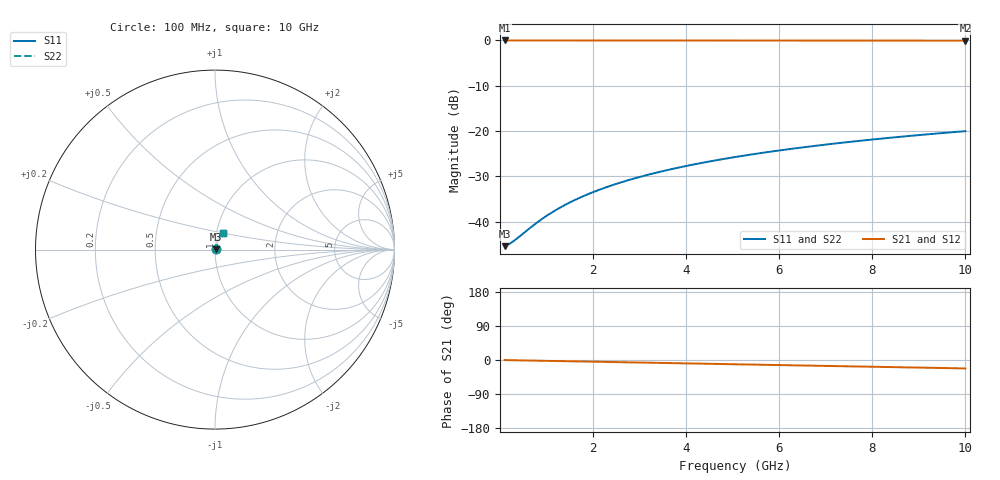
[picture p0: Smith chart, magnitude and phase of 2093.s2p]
# Hz S RI R 50.00
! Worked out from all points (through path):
!   100 points, 100 MHz to 10 GHz, reference 50 ohm
!   highest |S21| = -0.05 dB at 100 MHz (marker M1); lowest = -0.1 dB at 10 GHz (marker M2)
!   group delay of S21, straight-line fit = 6.18 ps
!   lowest |S11| = -45.4 dB at 100 MHz (marker M3), VSWR 1.01, Z = 50.5 + j0.101 ohm
!   |S11| at or under -10 dB: start of sweep to end of sweep
!   |S22| runs from -45.4 to -20.0 dB; largest |S21 - S12| = 0
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1e8  0.00527 0.001  0.9947 -0.00387  0.9947 -0.00387  0.00527 0.001
2e8  0.00532 0.002  0.9947 -0.00774  0.9947 -0.00774  0.00532 0.002
3e8  0.00536 0.003  0.9946 -0.0116  0.9946 -0.0116  0.00536 0.003
8e8  0.00565 0.008  0.9941 -0.031  0.9941 -0.031  0.00565 0.008
9e8  0.00573 0.009  0.9939 -0.0348  0.9939 -0.0348  0.00573 0.009
1.1e9  0.00591 0.011  0.9936 -0.0426  0.9936 -0.0426  0.00591 0.011
1.4e9  0.00623 0.014  0.9929 -0.0542  0.9929 -0.0542  0.00623 0.014
1.6e9  0.00647 0.016  0.9924 -0.0619  0.9924 -0.0619  0.00647 0.016
1.8e9  0.00675 0.018  0.9919 -0.0696  0.9919 -0.0696  0.00675 0.018
2.1e9  0.00723 0.0209  0.9909 -0.0812  0.9909 -0.0812  0.00723 0.0209
2.5e9  0.00797 0.0248  0.9894 -0.0966  0.9894 -0.0966  0.00797 0.0248
2.9e9  0.00883 0.0288  0.9876 -0.1119  0.9876 -0.1119  0.00883 0.0288
3.4e9  0.0101 0.0336  0.9851 -0.1311  0.9851 -0.1311  0.0101 0.0336
3.8e9  0.0112 0.0374  0.9827 -0.1464  0.9827 -0.1464  0.0112 0.0374
4.2e9  0.0124 0.0412  0.9801 -0.1616  0.9801 -0.1616  0.0124 0.0412
4.6e9  0.0138 0.045  0.9773 -0.1768  0.9773 -0.1768  0.0138 0.045
5.1e9  0.0157 0.0496  0.9734 -0.1957  0.9734 -0.1957  0.0157 0.0496
5.9e9  0.019 0.0568  0.9664 -0.2258  0.9664 -0.2258  0.019 0.0568
6.7e9  0.0228 0.0638  0.9584 -0.2555  0.9584 -0.2555  0.0228 0.0638
7.5e9  0.0271 0.0706  0.9494 -0.285  0.9494 -0.285  0.0271 0.0706
8.4e9  0.0323 0.0778  0.9382 -0.3177  0.9382 -0.3177  0.0323 0.0778
1e10  0.0428 0.0897  0.9154 -0.3746  0.9154 -0.3746  0.0428 0.0897
